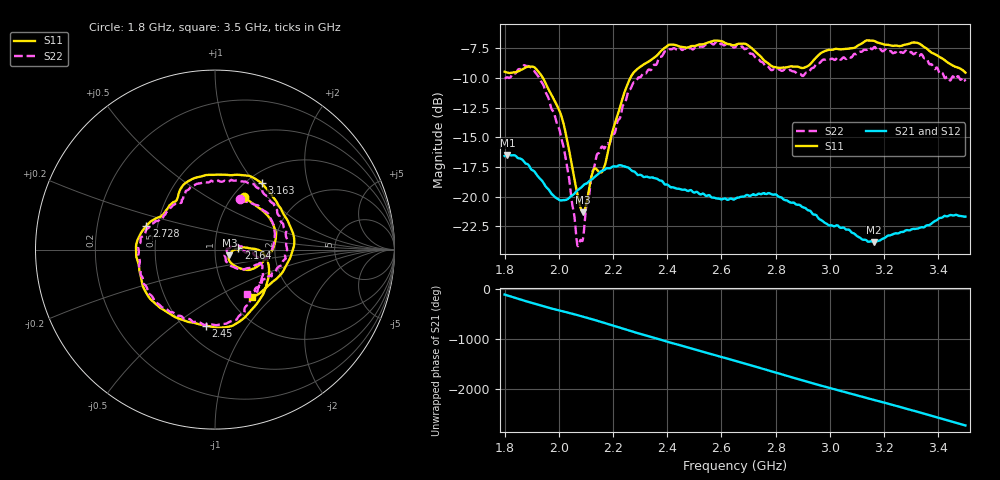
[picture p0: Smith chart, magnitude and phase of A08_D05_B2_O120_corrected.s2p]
! Created with skrf 1.9.0 (http://scikit-rf.org).
# Hz S RI R 50.0
!freq ReS11 ImS11 ReS21 ImS21 ReS12 ImS12 ReS22 ImS22
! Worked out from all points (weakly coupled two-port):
!   1601 points, 1.8 GHz to 3.5 GHz, reference 50 ohm
!   highest |S21| = -16.48 dB at 1.811 GHz (marker M1); lowest = -23.8 dB at 3.163 GHz (marker M2)
!   lowest |S11| = -21.3 dB at 2.09 GHz (marker M3), VSWR 1.19, Z = 58.6 - j3.76 ohm
!   |S11| at or under -10 dB: 1.941 GHz to 2.264 GHz (323 MHz wide, 15.4 % of centre)
!   |S22| runs from -24.2 to -7.0 dB; largest |S21 - S12| = 0.0028
!   S11 on the Smith chart (normalised r, x): 1.8 GHz: 1.13, +0.75; 2.164 GHz: 1.30, +0.02; 2.45 GHz: 0.64, -0.66; 2.728 GHz: 0.43, +0.14; 3.163 GHz: 1.17, +1.08; 3.5 GHz: 1.27, -0.75
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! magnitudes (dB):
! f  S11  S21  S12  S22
! 1.8 GHz  -9.5  -16.6  -16.6  -10.1
! 1.811 GHz  -9.6  -16.5  -16.5  -10.0
! 1.881 GHz  -9.1  -17.2  -17.2  -9.0
! 1.941 GHz  -10.0  -18.8  -18.8  -10.5
! 2.013 GHz  -13.4  -20.3  -20.3  -15.4
! 2.067 GHz  -19.6  -19.5  -19.5  -23.8
! 2.084 GHz  -21.1  -19.2  -19.2  -23.7
! 2.09 GHz  -21.3  -19.1  -19.1  -23.4
! 2.127 GHz  -17.8  -18.4  -18.4  -17.7
! 2.164 GHz  -17.7  -17.8  -17.7  -15.9
! 2.203 GHz  -14.2  -17.4  -17.5  -14.7
! 2.261 GHz  -10.1  -17.6  -17.7  -11.0
! 2.367 GHz  -8.0  -18.6  -18.5  -8.4
! 2.45 GHz  -7.4  -19.4  -19.4  -7.6
! 2.65 GHz  -7.2  -20.2  -20.2  -7.4
! 2.728 GHz  -7.9  -19.9  -19.9  -8.3
! 2.805 GHz  -9.1  -19.9  -19.9  -9.4
! 2.934 GHz  -8.7  -21.4  -21.3  -9.2
! 3.163 GHz  -6.9  -23.8  -23.8  -7.4
! 3.217 GHz  -7.2  -23.3  -23.2  -7.8
! 3.326 GHz  -7.1  -22.7  -22.6  -8.1
! 3.5 GHz  -9.6  -21.7  -21.7  -10.3
